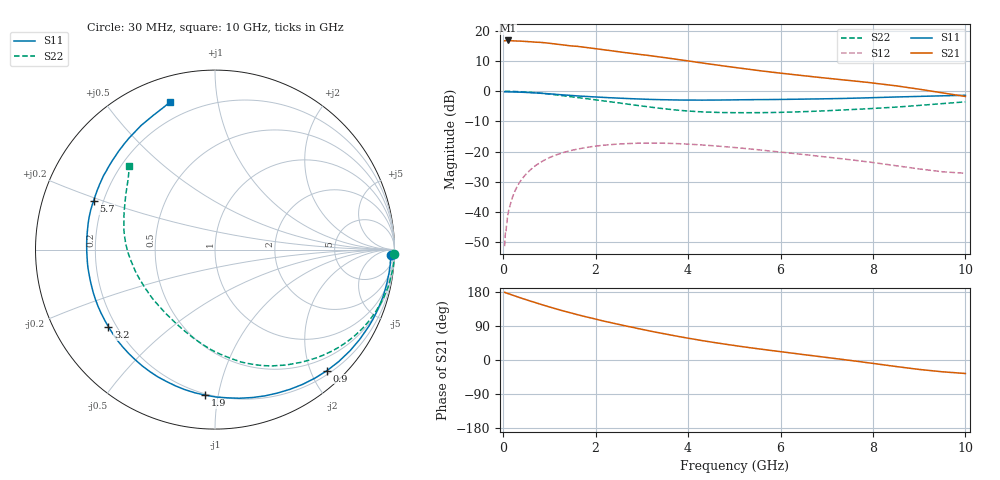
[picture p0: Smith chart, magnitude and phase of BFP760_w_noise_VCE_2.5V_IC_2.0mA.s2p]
! Infineon Technologies  Discrete & RF Semiconductors
! BFP760
! VCE =  2.5 V,  IC =  2.0 mA
! Common Emitter S-Parameters:  Nov 2012
# GHz  S  MA  R  50
!  f  S11  S21  S12  S22
! GHz  MAG  ANG  MAG  ANG  MAG  ANG  MAG  ANG
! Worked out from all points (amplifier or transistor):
!   99 points, 30 MHz to 10 GHz, reference 50 ohm
!   highest |S21| = 16.9 dB at 100 MHz (marker M1)
!   |S21| within 3 dB of that: start of sweep to 2.134 GHz
!   unconditionally stable (mu >= 1): 7.15 GHz to end of sweep
!   at 350 MHz: K = 0.05, MSG = 23.5 dB, |S12| = -30.3 dB
!   at 3.5 GHz: K = 0.32, MSG = 14.2 dB, |S12| = -17.2 dB
!   at 10 GHz: K = 1.71, MAG = 7.8 dB, |S12| = -27.2 dB
!   lowest NFmin = 0.46 dB at 900 MHz
!   S11 on the Smith chart (normalised r, x): 30 MHz: 31, -48; 900 MHz: 0.26, -2.26; 1.9 GHz: 0.19, -0.92; 3.2 GHz: 0.17, -0.32; 5.7 GHz: 0.16, +0.19; 10 GHz: 0.12, +0.73
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0.03  0.9812 -1.7  6.878 178.6  0.0027 85.6  1 -1.3
0.05  0.9803 -2.7  6.936 177.4  0.0047 79.7  0.9987 -1.9
0.06  0.9806 -3.3  6.94 177.1  0.0046 88.9  0.9986 -2.2
0.1  0.9793 -5.4  6.971 175.4  0.0089 84.8  0.9988 -3.6
0.2  0.976 -10.7  6.869 171.3  0.0175 82.4  0.9947 -7.2
0.35  0.9681 -18.6  6.808 165.0  0.0305 77.4  0.9858 -12.5
0.6  0.949 -31.7  6.626 155.0  0.0508 68.4  0.9589 -21.3
0.9  0.9188 -47.2  6.383 143.7  0.0729 58.1  0.9153 -31.5
1.3  0.8716 -66.5  5.876 129.5  0.0964 45.3  0.8435 -44.1
1.7  0.829 -85.1  5.445 116.7  0.1134 34.3  0.7717 -55.4
1.9  0.8129 -93.8  5.203 110.9  0.1203 29.2  0.7379 -61.0
2.2  0.7901 -106.4  4.856 102.0  0.1281 21.6  0.6884 -69.3
2.5  0.7704 -118.2  4.532 93.9  0.1336 14.8  0.643 -76.9
3.2  0.7332 -144.1  3.879 75.9  0.1383 0.5  0.5449 -94.8
3.4  0.7267 -150.8  3.698 71.1  0.1378 -3.3  0.5219 -99.9
4.1  0.7152 -171.7  3.114 55.5  0.1316 -15.2  0.4657 -117.6
4.5  0.7152 178.6  2.814 47.4  0.1257 -20.9  0.4501 -126.8
5.1  0.7227 167.0  2.436 36.5  0.1152 -28.1  0.4423 -139.0
5.7  0.7292 158.1  2.13 26.7  0.1037 -33.8  0.4439 -150.1
6.7  0.7461 145.6  1.745 11.3  0.0861 -39.7  0.4658 -168.5
8.5  0.8048 120.8  1.233 -17.2  0.0583 -42.8  0.5467 158.0
10  0.8586 107.1  0.821 -35.6  0.0437 -28.0  0.6683 135.5
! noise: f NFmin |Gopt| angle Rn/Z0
0.9  0.46  0.62  27  0.22
1.8  0.6  0.52  57  0.18
2.4  0.73  0.48  77  0.16
3.5  0.93  0.42  109  0.14
5.5  1.34  0.44  -164  0.08
8  2.21  0.57  -108  0.43
